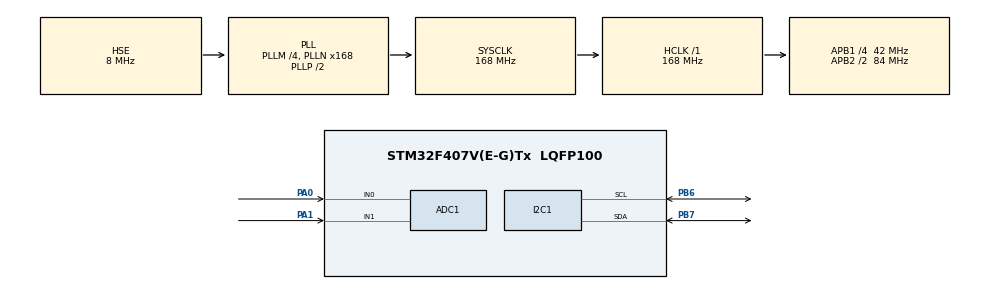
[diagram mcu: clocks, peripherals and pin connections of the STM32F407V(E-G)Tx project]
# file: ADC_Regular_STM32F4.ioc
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ADC1.Channel-0\#ChannelRegularConversion=ADC_CHANNEL_0
ADC1.Channel-1\#ChannelRegularConversion=ADC_CHANNEL_1
ADC1.Channel-2\#ChannelRegularConversion=ADC_CHANNEL_TEMPSENSOR
ADC1.Channel-3\#ChannelRegularConversion=ADC_CHANNEL_VREFINT
ADC1.ContinuousConvMode=ENABLE
ADC1.NbrOfConversion=4
ADC1.NbrOfConversionFlag=1
ADC1.Rank-0\#ChannelRegularConversion=1
ADC1.Rank-1\#ChannelRegularConversion=2
ADC1.Rank-2\#ChannelRegularConversion=3
ADC1.Rank-3\#ChannelRegularConversion=4
ADC1.SamplingTime-0\#ChannelRegularConversion=ADC_SAMPLETIME_84CYCLES
ADC1.SamplingTime-1\#ChannelRegularConversion=ADC_SAMPLETIME_84CYCLES
ADC1.SamplingTime-2\#ChannelRegularConversion=ADC_SAMPLETIME_84CYCLES
ADC1.SamplingTime-3\#ChannelRegularConversion=ADC_SAMPLETIME_84CYCLES
ADC1.master=1
Mcu.Family=STM32F4
Mcu.Name=STM32F407V(E-G)Tx
Mcu.Package=LQFP100
NVIC.PriorityGroup=NVIC_PRIORITYGROUP_4
PA0-WKUP.Signal=ADCx_IN0
PA1.Signal=ADCx_IN1
PA13.Mode=Serial_Wire
PA13.Signal=SYS_JTMS-SWDIO
PA14.Mode=Serial_Wire
PA14.Signal=SYS_JTCK-SWCLK
PB6.Mode=I2C
PB6.Signal=I2C1_SCL
PB7.Mode=I2C
PB7.Signal=I2C1_SDA
PH0-OSC_IN.Mode=HSE-External-Oscillator
PH0-OSC_IN.Signal=RCC_OSC_IN
PH1-OSC_OUT.Mode=HSE-External-Oscillator
PH1-OSC_OUT.Signal=RCC_OSC_OUT
ProjectManager.HeapSize=0x200
ProjectManager.StackSize=0x400
ProjectManager.TargetToolchain=MDK-ARM V5
RCC.48MHZClocksFreq_Value=84000000
RCC.AHBFreq_Value=168000000
RCC.APB1CLKDivider=RCC_HCLK_DIV4
RCC.APB1Freq_Value=42000000
RCC.APB1TimFreq_Value=84000000
RCC.APB2CLKDivider=RCC_HCLK_DIV2
RCC.APB2Freq_Value=84000000
RCC.APB2TimFreq_Value=168000000
RCC.CortexFreq_Value=168000000
RCC.HCLKFreq_Value=168000000
RCC.HSE_VALUE=8000000
RCC.HSI_VALUE=16000000
RCC.LSE_VALUE=32768
RCC.PLLM=4
RCC.PLLN=168
RCC.PLLSourceVirtual=RCC_PLLSOURCE_HSE
RCC.SYSCLKFreq_VALUE=168000000
RCC.SYSCLKSource=RCC_SYSCLKSOURCE_PLLCLK
RCC.VCOOutputFreq_Value=336000000
SH.ADCx_IN0.0=ADC1_IN0,IN0
SH.ADCx_IN1.0=ADC1_IN1,IN1
VP_ADC1_TempSens_Input.Mode=IN-TempSens
VP_ADC1_Vref_Input.Mode=IN-Vrefint
board=custom

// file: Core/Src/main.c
/* USER CODE BEGIN Header */
/**
  ******************************************************************************
  * @file           : main.c
  * @brief          : Main program body
  ******************************************************************************
  * @attention
  *
  * Copyright (c) 2023 STMicroelectronics.
  * All rights reserved.
  *
  * This software is licensed under terms that can be found in the LICENSE file
  * in the root directory of this software component.
  * If no LICENSE file comes with this software, it is provided AS-IS.
  *
  ******************************************************************************
  */
/* USER CODE END Header */
#include "main.h"
#include "adc.h"
#include "i2c.h"
#include "gpio.h"

/* USER CODE BEGIN Includes */
#include "stdio.h"
#include "i2c-lcd.h"
/* USER CODE END Includes */

void SystemClock_Config(void);

/* USER CODE BEGIN 0 */
// kh?i t?o ADC1 channel 0
uint32_t ADC_VAL[4];
void ADC_Select_CH0 (void)
{
 ADC_ChannelConfTypeDef saConfig = {0};
 saConfig.Channel = ADC_CHANNEL_0;
 saConfig.Rank = 1;
 saConfig.SamplingTime = ADC_SAMPLETIME_84CYCLES;
 if (HAL_ADC_ConfigChannel(&hadc1, &saConfig) != HAL_OK)
 {
   Error_Handler();
 }
}
// kh?i t?o ADC1 channel 1
void ADC_Select_CH1 (void)
{
 ADC_ChannelConfTypeDef saConfig = {0};
 saConfig.Channel = ADC_CHANNEL_1;
 saConfig.Rank = 1;
 saConfig.SamplingTime = ADC_SAMPLETIME_84CYCLES;
 if (HAL_ADC_ConfigChannel(&hadc1, &saConfig) != HAL_OK)
 {
   Error_Handler();
 }
}
// kh?i t?o ADC1 channel temp
void ADC_Select_Temp (void)
{
 ADC_ChannelConfTypeDef saConfig = {0};
 saConfig.Channel = ADC_CHANNEL_TEMPSENSOR;
 saConfig.Rank = 1;
 saConfig.SamplingTime = ADC_SAMPLETIME_84CYCLES;
 if (HAL_ADC_ConfigChannel(&hadc1, &saConfig) != HAL_OK)
 {
   Error_Handler();
 }
}
// kh?i t?o ADC1 channel vref
void ADC_Select_Vref (void)
{
 ADC_ChannelConfTypeDef saConfig = {0};
 saConfig.Channel = ADC_CHANNEL_VREFINT;
 saConfig.Rank = 1;
 saConfig.SamplingTime = ADC_SAMPLETIME_84CYCLES;
 if (HAL_ADC_ConfigChannel(&hadc1, &saConfig) != HAL_OK)
 {
   Error_Handler();
 }
}
/* USER CODE END 0 */

int main(void)
{

  /* MCU Configuration--------------------------------------------------------*/

  /* Reset of all peripherals, Initializes the Flash interface and the Systick. */
  HAL_Init();

  /* Configure the system clock */
  SystemClock_Config();

  /* Initialize all configured peripherals */
  MX_GPIO_Init();
  MX_ADC1_Init();
  MX_I2C1_Init();
  /* USER CODE BEGIN 2 */
	lcd_init();

  /* USER CODE END 2 */

  /* Infinite loop */
  while (1)
  {

    /* USER CODE BEGIN 3 */

		ADC_Select_CH0();
		HAL_ADC_Start(&hadc1);
		HAL_ADC_PollForConversion(&hadc1, HAL_MAX_DELAY);
		ADC_VAL[0] = HAL_ADC_GetValue(&hadc1);
		HAL_ADC_Stop(&hadc1);
		HAL_Delay(10);

		ADC_Select_CH1();
		HAL_ADC_Start(&hadc1);
		HAL_ADC_PollForConversion(&hadc1, 1000);
		ADC_VAL[1] = HAL_ADC_GetValue(&hadc1);
		HAL_ADC_Stop(&hadc1);
		HAL_Delay(10);

		ADC_Select_Temp();
		HAL_ADC_Start(&hadc1);
		HAL_ADC_PollForConversion(&hadc1, 1000);
		ADC_VAL[2] = HAL_ADC_GetValue(&hadc1);
		HAL_ADC_Stop(&hadc1);
		HAL_Delay(10);

		ADC_Select_Vref();
		HAL_ADC_Start(&hadc1);
		HAL_ADC_PollForConversion(&hadc1, 1000);
		ADC_VAL[3] = HAL_ADC_GetValue(&hadc1);
		HAL_ADC_Stop(&hadc1);
		HAL_Delay(10);

		char buffer[20];

		lcd_put_cur(0, 0);
		sprintf(buffer, "CH0: %d ", ADC_VAL[0]);
		lcd_send_string(buffer);

		lcd_put_cur(1, 0);
		sprintf(buffer, "CH1: %d ", ADC_VAL[1]);
		lcd_send_string(buffer);

		lcd_put_cur(2, 0);
		sprintf(buffer, "Tem: %d ", ADC_VAL[2]);
		lcd_send_string(buffer);

		lcd_put_cur(3, 0);
		sprintf(buffer, "Vre: %d ", ADC_VAL[3]);
		lcd_send_string(buffer);

		lcd_put_cur(0, 10);
		lcd_sent_number_xxxx(ADC_VAL[0]);
		HAL_Delay(50);

		lcd_put_cur(1, 10);
		lcd_sent_number_xxxx(ADC_VAL[1]);
		HAL_Delay(50);

		lcd_put_cur(2, 10);
		lcd_sent_number_xxxx(ADC_VAL[2]);
		HAL_Delay(50);

		lcd_put_cur(3, 10);
		lcd_sent_number_xxxx(ADC_VAL[3]);
		HAL_Delay(50);

		lcd_put_cur(0, 15);
		lcd_sent_number_xxxx_no_zero(ADC_VAL[0]);
		HAL_Delay(50);

		lcd_put_cur(1, 15);
		lcd_sent_number_xxxx_no_zero(ADC_VAL[1]);
		HAL_Delay(50);

		lcd_put_cur(2, 15);
		lcd_sent_number_xxxx_no_zero(ADC_VAL[2]);
		HAL_Delay(50);

		lcd_put_cur(3, 15);
		lcd_sent_number_xxxx_no_zero(ADC_VAL[3]);
		HAL_Delay(50);

		HAL_Delay(1000);
  }
  /* USER CODE END 3 */
}

void SystemClock_Config(void)
{
  RCC_OscInitTypeDef RCC_OscInitStruct = {0};
  RCC_ClkInitTypeDef RCC_ClkInitStruct = {0};

  /** Configure the main internal regulator output voltage
  */
  __HAL_RCC_PWR_CLK_ENABLE();
  __HAL_PWR_VOLTAGESCALING_CONFIG(PWR_REGULATOR_VOLTAGE_SCALE1);

  /** Initializes the RCC Oscillators according to the specified parameters
  * in the RCC_OscInitTypeDef structure.
  */
  RCC_OscInitStruct.OscillatorType = RCC_OSCILLATORTYPE_HSE;
  RCC_OscInitStruct.HSEState = RCC_HSE_ON;
  RCC_OscInitStruct.PLL.PLLState = RCC_PLL_ON;
  RCC_OscInitStruct.PLL.PLLSource = RCC_PLLSOURCE_HSE;
  RCC_OscInitStruct.PLL.PLLM = 4;
  RCC_OscInitStruct.PLL.PLLN = 168;
  RCC_OscInitStruct.PLL.PLLP = RCC_PLLP_DIV2;
  RCC_OscInitStruct.PLL.PLLQ = 4;
  if (HAL_RCC_OscConfig(&RCC_OscInitStruct) != HAL_OK)
  {
    Error_Handler();
  }

  /** Initializes the CPU, AHB and APB buses clocks
  */
  RCC_ClkInitStruct.ClockType = RCC_CLOCKTYPE_HCLK|RCC_CLOCKTYPE_SYSCLK
                              |RCC_CLOCKTYPE_PCLK1|RCC_CLOCKTYPE_PCLK2;
  RCC_ClkInitStruct.SYSCLKSource = RCC_SYSCLKSOURCE_PLLCLK;
  RCC_ClkInitStruct.AHBCLKDivider = RCC_SYSCLK_DIV1;
  RCC_ClkInitStruct.APB1CLKDivider = RCC_HCLK_DIV4;
  RCC_ClkInitStruct.APB2CLKDivider = RCC_HCLK_DIV2;

  if (HAL_RCC_ClockConfig(&RCC_ClkInitStruct, FLASH_LATENCY_5) != HAL_OK)
  {
    Error_Handler();
  }
}

void Error_Handler(void)
{
  __disable_irq();
  while (1)
  {
  }
}
